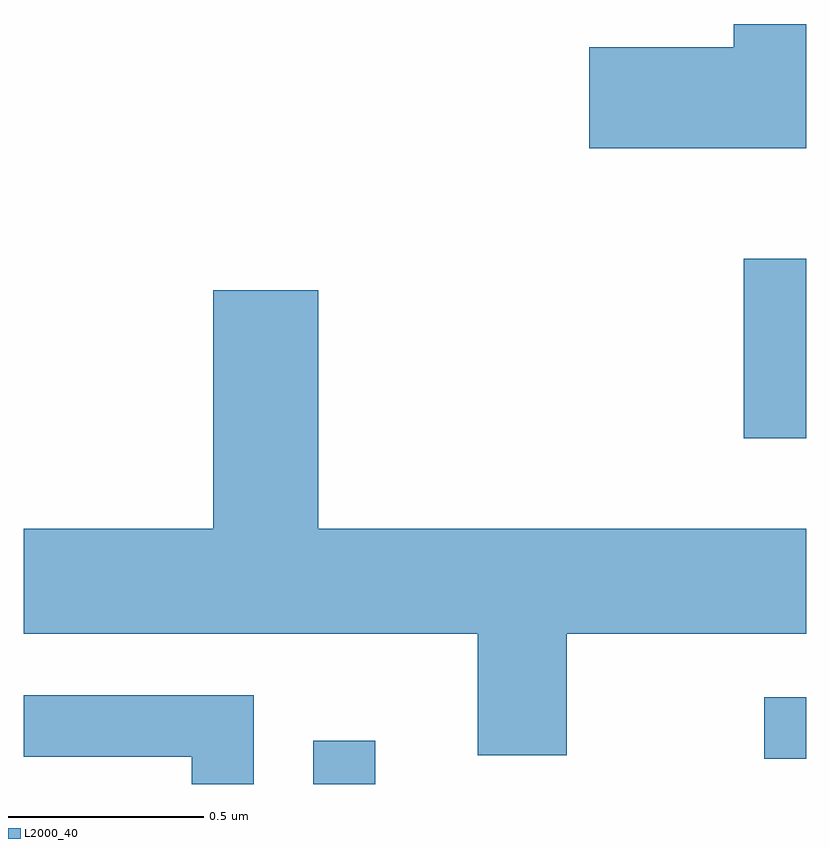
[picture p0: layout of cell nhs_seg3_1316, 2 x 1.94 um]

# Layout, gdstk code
import gdstk
lib = gdstk.Library(unit=1e-6, precision=1e-09)
def R(c, l, rs):  # rectangles x0, y0, x1, y1
    for r in rs: c.add(gdstk.rectangle(r[:2], r[2:], *l))
def P(c, l, *ps):  # polygons
    for p in ps: c.add(gdstk.Polygon(p, *l))
L2000_40 = (2000, 40)

nhs_seg3_1316 = lib.new_cell('nhs_seg3_1316')
R(nhs_seg3_1316, L2000_40, [(195.351,1198.892,195.509,1199.003), (196.503,1198.956,196.611,1199.114), (196.451,1199.776,196.611,1200.234)])
P(nhs_seg3_1316, L2000_40, [(196.611,1200.834),(196.426,1200.834),(196.426,1200.774),(196.056,1200.774),(196.056,1200.516),(196.611,1200.516)],
  [(195.999,1199.276),(196.611,1199.276),(196.611,1199.544),(195.364,1199.544),(195.364,1200.154),(195.096,1200.154),(195.096,1199.544),(194.611,1199.544),(194.611,1199.276),(195.771,1199.276),(195.771,1198.966),(195.999,1198.966)],
  [(195.199,1199.119),(194.611,1199.119),(194.611,1198.961),(195.041,1198.961),(195.041,1198.892),(195.199,1198.892)])

lib.write_gds('nhs_seg3_1316.gds')
